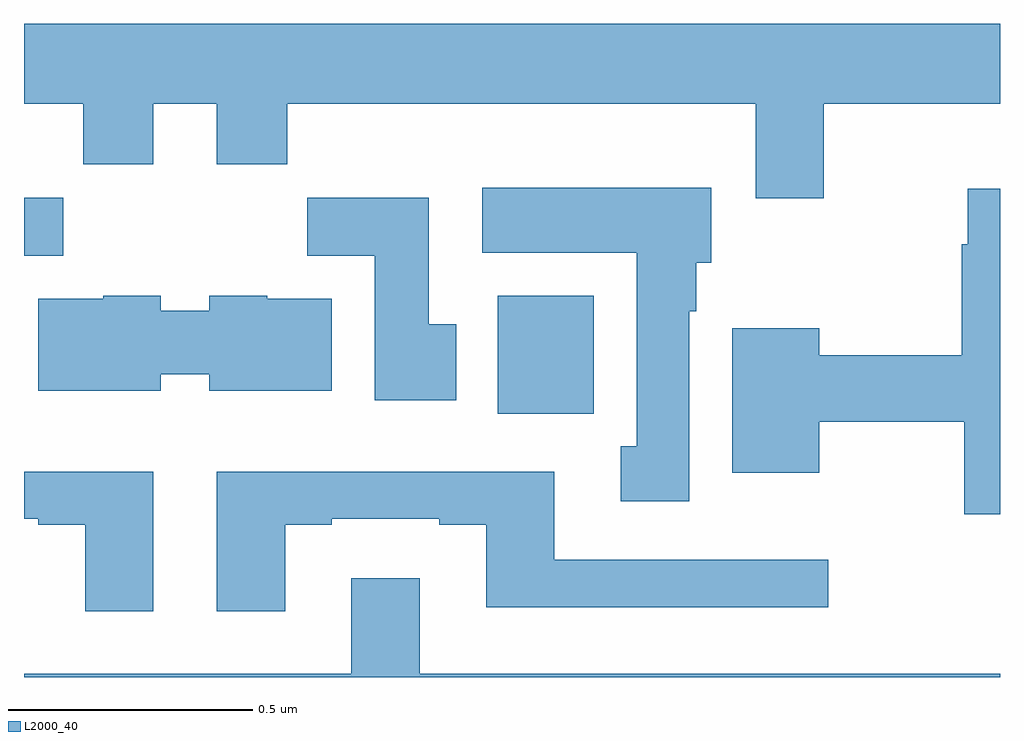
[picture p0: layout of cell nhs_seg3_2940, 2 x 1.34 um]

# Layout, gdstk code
import gdstk
lib = gdstk.Library(unit=1e-6, precision=1e-09)
def R(c, l, rs):  # rectangles x0, y0, x1, y1
    for r in rs: c.add(gdstk.rectangle(r[:2], r[2:], *l))
def P(c, l, *ps):  # polygons
    for p in ps: c.add(gdstk.Polygon(p, *l))
L2000_40 = (2000, 40)

nhs_seg3_2940 = lib.new_cell('nhs_seg3_2940')
R(nhs_seg3_2940, L2000_40, [(147.971,706.94,148.168,707.182), (147,707.264,147.08,707.383)])
P(nhs_seg3_2940, L2000_40, [(148.639,707.576),(149,707.576),(149,707.74),(147,707.74),(147,707.576),(147.121,707.576),(147.121,707.452),(147.265,707.452),(147.265,707.576),(147.395,707.576),(147.395,707.452),(147.539,707.452),(147.539,707.576),(148.499,707.576),(148.499,707.382),(148.639,707.382)],
  [(148.363,707.15),(148.378,707.15),(148.378,707.25),(148.408,707.25),(148.408,707.404),(147.939,707.404),(147.939,707.27),(148.256,707.27),(148.256,706.874),(148.223,706.874),(148.223,706.761),(148.363,706.761)],
  [(149,707.401),(148.934,707.401),(148.934,707.288),(148.922,707.288),(148.922,707.06),(148.63,707.06),(148.63,707.116),(148.451,707.116),(148.451,706.82),(148.63,706.82),(148.63,706.924),(148.927,706.924),(148.927,706.734),(149,706.734)],
  [(147.886,707.124),(147.829,707.124),(147.829,707.383),(147.58,707.383),(147.58,707.264),(147.719,707.264),(147.719,706.968),(147.886,706.968)],
  [(147.28,707.021),(147.38,707.021),(147.38,706.988),(147.631,706.988),(147.631,707.176),(147.498,707.176),(147.498,707.182),(147.38,707.182),(147.38,707.151),(147.28,707.151),(147.28,707.182),(147.162,707.182),(147.162,707.176),(147.029,707.176),(147.029,706.988),(147.28,706.988)],
  [(147.265,706.822),(147,706.822),(147,706.725),(147.029,706.725),(147.029,706.713),(147.125,706.713),(147.125,706.536),(147.265,706.536)],
  [(147.535,706.713),(147.631,706.713),(147.631,706.725),(147.851,706.725),(147.851,706.713),(147.947,706.713),(147.947,706.544),(148.648,706.544),(148.648,706.641),(148.087,706.641),(148.087,706.822),(147.395,706.822),(147.395,706.536),(147.535,706.536)],
  [(149,706.408),(147.811,706.408),(147.811,706.603),(147.671,706.603),(147.671,706.408),(147,706.408),(147,706.4),(149,706.4)])

lib.write_gds('nhs_seg3_2940.gds')
